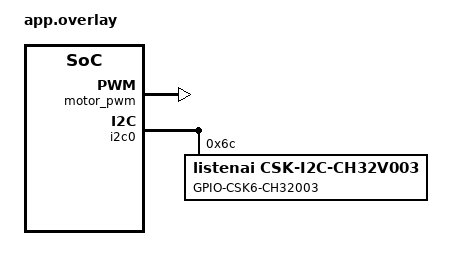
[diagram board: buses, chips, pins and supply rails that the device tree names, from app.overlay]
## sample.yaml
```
sample:
  name: gpio_led Sample
tests:
  sample.basic.blinky:
    tags: LED gpio
    filter: dt_enabled_alias_with_parent_compat("led0", "gpio-leds")
    depends_on: gpio
    harness: led
    integration_platforms:
      - frdm_k64f
```

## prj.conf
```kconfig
CONFIG_GPIO=y
CONFIG_PWM=y
CONFIG_PWM_CSK6_CH32V003=y
CONFIG_LOG=y
CONFIG_I2C=y
CONFIG_PWM_CSK6_CH32V003_DTG=0xCF
CONFIG_PWM_CSK6_CH32V003_BRAKE=y
```

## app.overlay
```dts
&i2c0 {
    status = "okay";
    pinctrl-0 = <&pinctrl_i2c0_scl_default &pinctrl_i2c0_sda_default>;
    pinctrl-names = "default";
    csk6_ch32v003: csk6_ch32v003@6c {
        /**
         * Please make sure that the external MCU firmware has been loaded
         * SCL --> external MCU PC5
         * SDA --> external MCU PC6
         */
        compatible = "listenai,csk-i2c-ch32v003";
        reg = <0x6c>;
        label = "GPIO-CSK6-CH32003";
        status = "okay";
        #address-cells = <1>;
        #size-cells = <0>;

        expwm: pwm-controller@0 {
            compatible = "listenai,csk-ch32v003-pwm";
            label = "EXPWM";
            reg = <0>;
            status = "okay";
            clock-prescaler = <4800>;
            clock-frequency = <48000000>;
            #pwm-cells = <4>;
        };
    };
};

/ {
    motor {
        motor_pwm: motor_pwm {
            compatible = "vnd,phandle-holder";
            status = "okay";
            pwms = <&expwm 0 1000 0x0 100>;
        };
    };

    aliases {
        csk6-exmcu = &csk6_ch32v003;
    };
};
```

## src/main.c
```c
/*
 * Copyright (c) 2023 Anhui(Shenzhen) Listenai Co., Ltd.
 *
 * SPDX-License-Identifier: Apache-2.0
 */

#include <device.h>
#include <devicetree.h>
#include <drivers/gpio.h>
#include <drivers/pwm.h>
#include <zephyr.h>

/* 1000 msec = 1 sec */
#define SLEEP_TIME_MS 1000

#define LED0 DT_GPIO_LABEL(DT_NODELABEL(green_led), gpios)
#define PIN  DT_GPIO_PIN(DT_NODELABEL(green_led), gpios)

void main(void)
{
	const struct device *dev;
	bool led_is_on = true;
	int ret;

	printk("LED0 %s \n", LED0);
	printk("PIN %d \n", PIN);

	dev = device_get_binding(LED0);
	if (dev == NULL) {
		printk("LED0 device not found \n");
		return;
	}

	ret = gpio_pin_configure(dev, PIN, GPIO_OUTPUT_ACTIVE);
	if (ret < 0) {
		printk("gpio config error \n");
		return;
	}
	// DT_INST(inst, DT_DRV_COMPAT)
	const struct pwm_dt_spec spec = PWM_DT_SPEC_GET(DT_NODELABEL(motor_pwm));

	if (!device_is_ready(spec.dev)) {
		printk("device: %s is not ready\n", spec.dev->name);
	}

	printk("name: %s \n", spec.dev->name);
	printk("channel: %d \n", spec.channel);
	printk("period: %d \n", spec.period);
	printk("flag: %d \n", spec.flags);

	int r = pwm_set_dt(&spec, 1000 * 1000 * 1000, 500 * 1000 * 1000);

	if (r) {
		printk("pwm set dt failed, r:%d\n", r);
	}

	while (1) {
		gpio_pin_set(dev, PIN, (int)led_is_on);
		led_is_on = !led_is_on;
		k_msleep(SLEEP_TIME_MS);
	}
}
```
